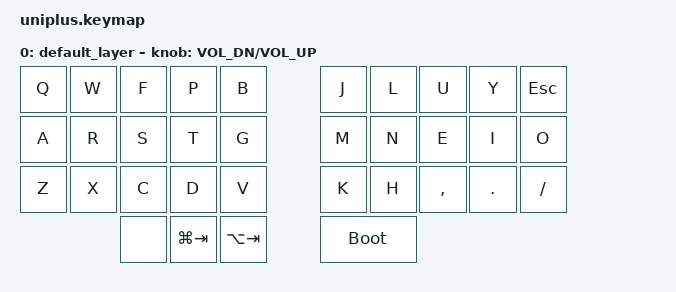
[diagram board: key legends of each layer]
#include <behaviors.dtsi>
#include <dt-bindings/zmk/keys.h>

/ {
    keymap {
        compatible = "zmk,keymap";

        default_layer {
          bindings = <
    &kp Q &kp W &kp F &kp P &kp B &kp J &kp L &kp U &kp Y &kp ESC
    &kp A &kp R &kp S &kp T &kp G &kp M &kp N &kp E &kp I &kp O
    &kp Z &kp X &kp C &kp D &kp V &kp K &kp H &kp COMMA &kp DOT &kp SLASH
          &none &kp LG(TAB) &kp LA(TAB) &bootloader
              >;
            sensor-bindings = <&inc_dec_kp C_VOL_DN C_VOL_UP>;
        };
    };
};
